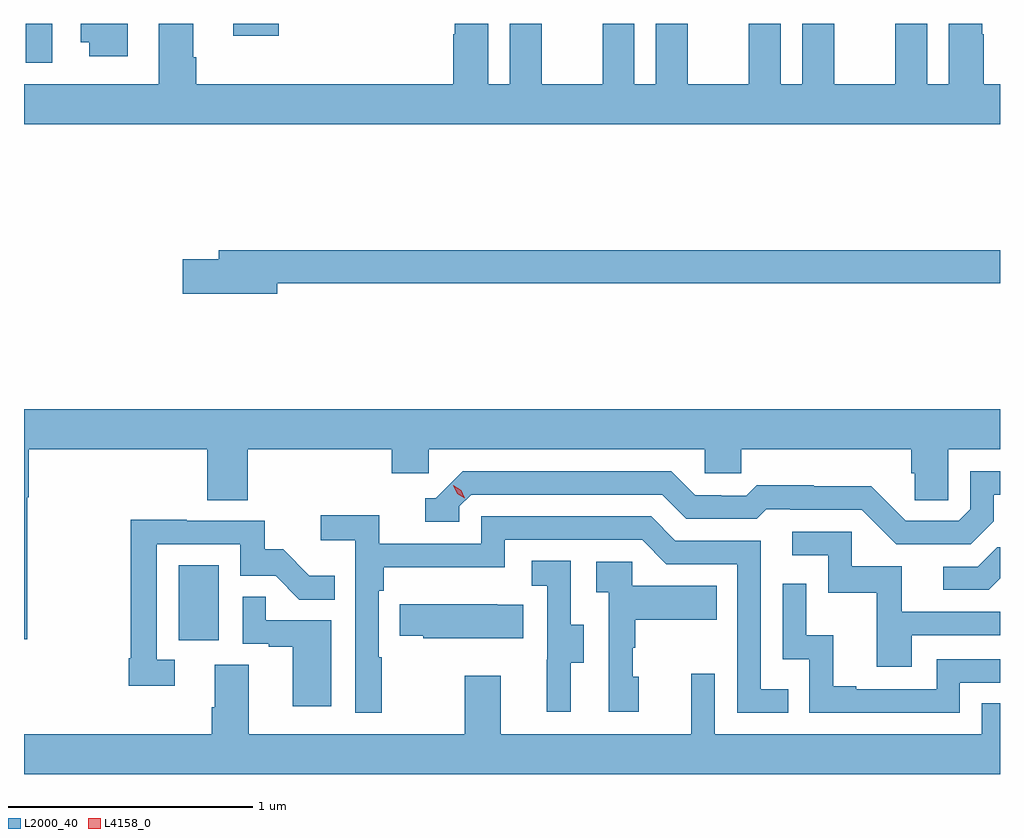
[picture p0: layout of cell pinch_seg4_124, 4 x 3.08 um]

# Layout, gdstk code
import gdstk
lib = gdstk.Library(unit=1e-6, precision=1e-09)
def R(c, l, rs):  # rectangles x0, y0, x1, y1
    for r in rs: c.add(gdstk.rectangle(r[:2], r[2:], *l))
def P(c, l, *ps):  # polygons
    for p in ps: c.add(gdstk.Polygon(p, *l))
L2000_40 = (2000, 40)
L4158_0 = (4158, 0)

pinch_seg4_124 = lib.new_cell('pinch_seg4_124')
R(pinch_seg4_124, L2000_40, [(1045.994,796.038,1046.158,796.345), (1045.368,798.405,1045.476,798.565), (1046.217,798.516,1046.405,798.565)])
P(pinch_seg4_124, L2000_40, [(1049.36,798.316),(1049.294,798.316),(1049.294,798.521),(1049.287,798.521),(1049.287,798.565),(1049.15,798.565),(1049.15,798.316),(1049.062,798.316),(1049.062,798.565),(1048.931,798.565),(1048.931,798.316),(1048.681,798.316),(1048.681,798.565),(1048.55,798.565),(1048.55,798.316),(1048.462,798.316),(1048.462,798.565),(1048.331,798.565),(1048.331,798.316),(1048.081,798.316),(1048.081,798.565),(1047.95,798.565),(1047.95,798.316),(1047.862,798.316),(1047.862,798.565),(1047.731,798.565),(1047.731,798.316),(1047.481,798.316),(1047.481,798.565),(1047.35,798.565),(1047.35,798.316),(1047.262,798.316),(1047.262,798.565),(1047.125,798.565),(1047.125,798.521),(1047.119,798.521),(1047.119,798.316),(1046.066,798.316),(1046.066,798.428),(1046.053,798.428),(1046.053,798.565),(1045.913,798.565),(1045.913,798.316),(1045.36,798.316),(1045.36,798.152),(1049.36,798.152)],
  [(1045.786,798.565),(1045.592,798.565),(1045.592,798.488),(1045.628,798.488),(1045.628,798.432),(1045.786,798.432)],
  [(1046.398,797.5),(1049.36,797.5),(1049.36,797.636),(1046.159,797.636),(1046.159,797.6),(1046.01,797.6),(1046.01,797.458),(1046.398,797.458)],
  [(1045.36,796.041),(1045.374,796.041),(1045.374,796.624),(1045.379,796.624),(1045.379,796.82),(1046.111,796.82),(1046.111,796.612),(1046.276,796.612),(1046.276,796.82),(1046.867,796.82),(1046.867,796.722),(1047.018,796.722),(1047.018,796.82),(1048.149,796.82),(1048.149,796.722),(1048.299,796.722),(1048.299,796.82),(1048.997,796.82),(1048.997,796.722),(1049.011,796.722),(1049.011,796.612),(1049.148,796.612),(1049.148,796.82),(1049.36,796.82),(1049.36,796.984),(1045.36,796.984)],
  [(1049.335,796.525),(1049.335,796.635),(1049.36,796.635),(1049.36,796.731),(1049.238,796.731),(1049.238,796.575),(1049.19,796.527),(1048.974,796.527),(1048.832,796.669),(1048.596,796.669),(1048.596,796.672),(1048.363,796.672),(1048.321,796.629),(1048.218,796.629),(1048.218,796.632),(1048.111,796.632),(1048.012,796.731),(1047.159,796.731),(1047.048,796.62),(1047.005,796.62),(1047.005,796.524),(1047.144,796.524),(1047.144,796.587),(1047.192,796.635),(1047.975,796.635),(1048.074,796.536),(1048.363,796.536),(1048.402,796.575),(1048.501,796.575),(1048.501,796.572),(1048.794,796.572),(1048.935,796.431),(1049.241,796.431)],
  [(1046.827,795.968),(1046.814,795.968),(1046.814,796.241),(1046.834,796.241),(1046.834,796.337),(1047.33,796.337),(1047.33,796.449),(1047.894,796.449),(1047.993,796.35),(1048.284,796.35),(1048.284,795.741),(1048.493,795.741),(1048.493,795.837),(1048.38,795.837),(1048.38,796.446),(1048.03,796.446),(1047.931,796.545),(1047.234,796.545),(1047.234,796.434),(1046.816,796.434),(1046.816,796.55),(1046.577,796.55),(1046.577,796.448),(1046.718,796.448),(1046.718,795.741),(1046.827,795.741)],
  [(1045.978,795.957),(1045.905,795.957),(1045.905,796.431),(1046.247,796.431),(1046.247,796.302),(1046.391,796.302),(1046.489,796.204),(1046.633,796.204),(1046.633,796.303),(1046.529,796.303),(1046.422,796.41),(1046.346,796.41),(1046.346,796.527),(1046.027,796.527),(1046.027,796.532),(1045.797,796.532),(1045.797,795.964),(1045.789,795.964),(1045.789,795.852),(1045.978,795.852)],
  [(1048.999,796.059),(1049.36,796.059),(1049.36,796.155),(1048.957,796.155),(1048.957,796.341),(1048.752,796.341),(1048.752,796.482),(1048.509,796.482),(1048.509,796.386),(1048.656,796.386),(1048.656,796.233),(1048.855,796.233),(1048.855,795.93),(1048.999,795.93)],
  [(1049.36,796.291),(1049.36,796.418),(1049.348,796.418),(1049.268,796.338),(1049.127,796.338),(1049.127,796.245),(1049.314,796.245)],
  [(1047.601,795.946),(1047.655,795.946),(1047.655,796.101),(1047.6,796.101),(1047.6,796.364),(1047.441,796.364),(1047.441,796.261),(1047.504,796.261),(1047.504,795.957),(1047.503,795.957),(1047.503,795.744),(1047.601,795.744)],
  [(1047.88,795.888),(1047.855,795.888),(1047.855,796.007),(1047.865,796.007),(1047.865,796.121),(1048.199,796.121),(1048.199,796.261),(1047.852,796.261),(1047.852,796.359),(1047.705,796.359),(1047.705,796.235),(1047.756,796.235),(1047.756,795.744),(1047.88,795.744)],
  [(1049.196,795.864),(1049.36,795.864),(1049.36,795.96),(1049.1,795.96),(1049.1,795.837),(1048.771,795.837),(1048.771,795.85),(1048.676,795.85),(1048.676,796.058),(1048.566,796.058),(1048.566,796.27),(1048.47,796.27),(1048.47,795.96),(1048.578,795.96),(1048.578,795.741),(1049.196,795.741)],
  [(1046.62,796.119),(1046.351,796.119),(1046.351,796.217),(1046.256,796.217),(1046.256,796.023),(1046.363,796.023),(1046.363,796.011),(1046.462,796.011),(1046.462,795.768),(1046.62,795.768)],
  [(1047.407,796.183),(1047.299,796.183),(1047.299,796.186),(1046.899,796.186),(1046.899,796.057),(1046.997,796.057),(1046.997,796.046),(1047.407,796.046)],
  [(1049.36,795.779),(1049.286,795.779),(1049.286,795.652),(1048.191,795.652),(1048.191,795.901),(1048.094,795.901),(1048.094,795.652),(1047.313,795.652),(1047.313,795.892),(1047.166,795.892),(1047.166,795.652),(1046.281,795.652),(1046.281,795.938),(1046.141,795.938),(1046.141,795.764),(1046.129,795.764),(1046.129,795.652),(1045.36,795.652),(1045.36,795.488),(1049.36,795.488)])
P(pinch_seg4_124, L4158_0, [(1047.167,796.62),(1047.136,796.639),(1047.12,796.672),(1047.12,796.672),(1047.12,796.672),(1047.151,796.653),(1047.167,796.62),(1047.167,796.62)])

lib.write_gds('pinch_seg4_124.gds')
